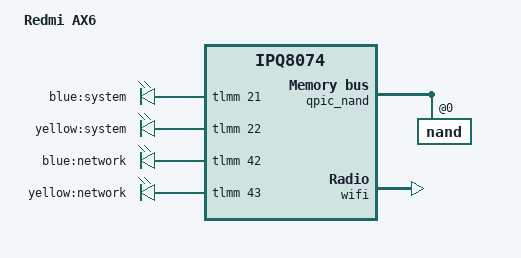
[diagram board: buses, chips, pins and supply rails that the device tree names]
// SPDX-License-Identifier: GPL-2.0-or-later OR MIT
/* Copyright (c) 2021, Zhijun You <hujy652@gmail.com> */

/dts-v1/;

#include "ipq8071-ax3600.dtsi"

/ {
	model = "Redmi AX6";
	compatible = "redmi,ax6", "qcom,ipq8074";

	aliases {
		/* Aliases as required by u-boot to patch MAC addresses */
		serial0 = &blsp1_uart5;
		led-boot = &led_system_yellow;
		led-failsafe = &led_system_yellow;
		led-running = &led_system_blue;
		led-upgrade = &led_system_yellow;
		label-mac-device = &swport2;

		ethernet1 = &swport2;
		ethernet2 = &swport3;
		ethernet3 = &swport4;
		ethernet4 = &swport5;
	};

	chosen {
		stdout-path = "serial0:115200n8";
		bootargs-append = " root=/dev/ubiblock0_1";
	};

	leds {
		compatible = "gpio-leds";

		led_system_blue: system-blue {
			label = "blue:system";
			gpios = <&tlmm 21 GPIO_ACTIVE_HIGH>;
		};

		led_system_yellow: system-yellow {
			label = "yellow:system";
			gpios = <&tlmm 22 GPIO_ACTIVE_HIGH>;
		};

		network-blue {
			label = "blue:network";
			gpios = <&tlmm 42 GPIO_ACTIVE_HIGH>;
		};

		network-yellow {
			label = "yellow:network";
			gpios = <&tlmm 43 GPIO_ACTIVE_HIGH>;
		};
	};
};

/* AX6 can both have NAND of 256MiB or 128MiB.
 * To be on the safe side, assume 128MiB of NAND.
 */
&rootfs {
	reg = <0x2dc0000 0x5220000>;
};

&qpic_nand {
	/delete-node/ partitions;

	nand@0 {
		/delete-node/ partitions;

		partitions {
			compatible = "qcom,smem-part";
		};
	};
};

&switch {
	ports {
		swport2: port@2 {
			/delete-property/ nvmem-cells;
			/delete-property/ nvmem-cell-names;
		};

		swport3: port@3 {
			/delete-property/ nvmem-cells;
			/delete-property/ nvmem-cell-names;
		};

		swport4: port@4 {
			/delete-property/ nvmem-cells;
			/delete-property/ nvmem-cell-names;
		};

		swport5: port@5 {
			/delete-property/ nvmem-cells;
			/delete-property/ nvmem-cell-names;
		};
	};
};

&wifi {
	qcom,ath11k-calibration-variant = "Redmi-AX6";
};
